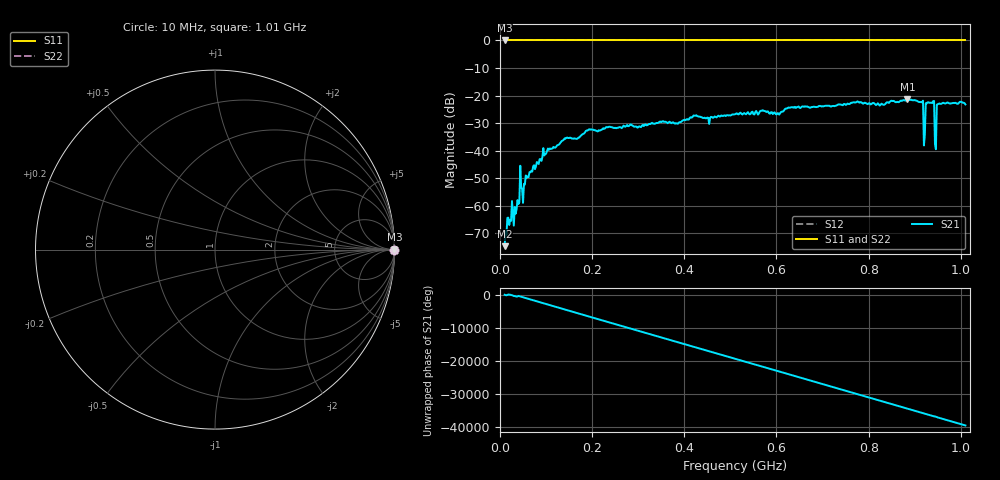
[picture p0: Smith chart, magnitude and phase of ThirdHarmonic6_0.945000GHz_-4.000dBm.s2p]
! 8/16/2025 6:42:54 AM
! C:\ANRITSUVNA\TEMP\TEMP.S2P
! CHANNEL.1
! TR.MEASUREMENT
! RAW.DATA
! RF.CORRECTION.OFF
! AVERAGING.OFF
! IF.BANDWIDTH: 5KHZ
! SWEEPTYPE:  FREQ.SWEEP(Linear)
! Reference Plane Port Info
! PORT:  PORT1  PORT2
! DISTANCE:  0  m  0  m
! TIME:  0  s  0  s
! PHASE.OFFSET:  0  deg.  0  deg.
! LOSS:  0  dB  0  dB
! REF.LOSS:  0  dB  0  dB
! REF.FREQ:  0  Hz  0  Hz
! Power Info
! POWER:  -20  dBm  -20  dBm
! EFF.POWER:  -20  dBm  -20  dBm
! SOURCE.ATTEN:  0  dB  0  dB
! TEST.ATTEN:  0  dB  0  dB
# GHZ S RI R 50.0
! FREQ.GHZ  S11RE  S11IM  S21RE  S21IM  S12RE  S12IM  S22RE  S22IM
!; PortSelection: Port_12
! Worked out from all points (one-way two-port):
!   501 points, 10 MHz to 1.01 GHz, reference 50 ohm
!   highest |S21| = -21.23 dB at 884 MHz (marker M1); lowest = -74.6 dB at 10 MHz (marker M2)
!   lowest |S11| = 0.0 dB at 10 MHz (marker M3)
!   |S11| at or under -10 dB: nowhere
!   |S22| runs from 0.0 to 0.0 dB; largest |S21 - S12| = 1.1
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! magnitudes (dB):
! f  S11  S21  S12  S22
! 10 MHz  0.0  -74.6  0.0  0.0
! 22 MHz  0.0  -65.0  0.0  0.0
! 38 MHz  0.0  -57.9  0.0  0.0
! 42 MHz  0.0  -58.7  0.0  0.0
! 50 MHz  0.0  -58.9  0.0  0.0
! 70 MHz  0.0  -47.6  0.0  0.0
! 106 MHz  0.0  -39.7  0.0  0.0
! 178 MHz  0.0  -34.1  0.0  0.0
! 344 MHz  0.0  -29.9  0.0  0.0
! 510 MHz  0.0  -26.8  0.0  0.0
! 678 MHz  0.0  -24.2  0.0  0.0
! 844 MHz  0.0  -22.7  0.0  0.0
! 884 MHz  0.0  -21.2  0.0  0.0
! 914 MHz  0.0  -22.4  0.0  0.0
! 918 MHz  0.0  -21.8  0.0  0.0
! 924 MHz  0.0  -22.7  0.0  0.0
! 928 MHz  0.0  -22.5  0.0  0.0
! 938 MHz  0.0  -22.7  0.0  0.0
! 942 MHz  0.0  -21.9  0.0  0.0
! 948 MHz  0.0  -23.3  0.0  0.0
! 952 MHz  0.0  -23.0  0.0  0.0
! 1.01 GHz  0.0  -23.2  0.0  0.0
